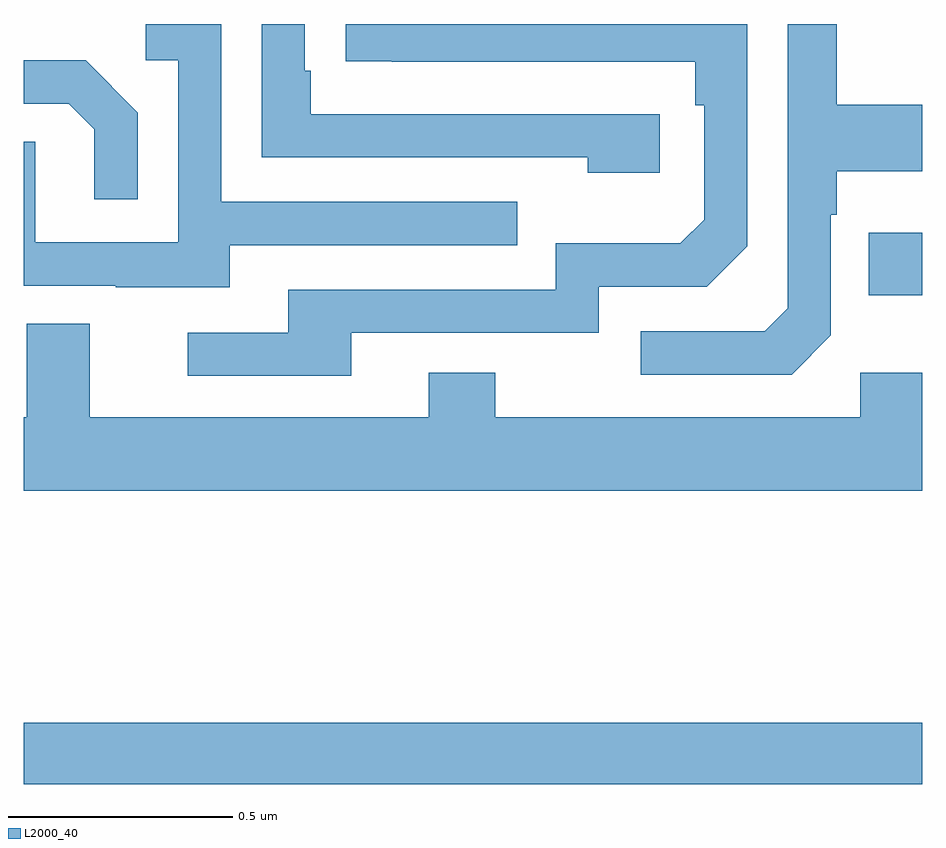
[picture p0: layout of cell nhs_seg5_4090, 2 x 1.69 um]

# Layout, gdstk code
import gdstk
lib = gdstk.Library(unit=1e-6, precision=1e-09)
def R(c, l, rs):  # rectangles x0, y0, x1, y1
    for r in rs: c.add(gdstk.rectangle(r[:2], r[2:], *l))
def P(c, l, *ps):  # polygons
    for p in ps: c.add(gdstk.Polygon(p, *l))
L2000_40 = (2000, 40)

nhs_seg5_4090 = lib.new_cell('nhs_seg5_4090')
R(nhs_seg5_4090, L2000_40, [(166,856.108,168,856.244), (167.881,857.195,168,857.335)])
P(nhs_seg5_4090, L2000_40, [(167.796,857.106),(167.796,857.375),(167.809,857.375),(167.809,857.471),(168,857.471),(168,857.619),(167.809,857.619),(167.809,857.799),(167.7,857.799),(167.7,857.166),(167.649,857.115),(167.373,857.115),(167.373,857.019),(167.709,857.019)],
  [(166.729,857.112),(167.28,857.112),(167.28,857.214),(167.52,857.214),(167.61,857.304),(167.61,857.799),(166.717,857.799),(166.717,857.716),(166.819,857.716),(166.819,857.715),(167.494,857.715),(167.494,857.618),(167.514,857.618),(167.514,857.364),(167.461,857.311),(167.184,857.311),(167.184,857.208),(166.589,857.208),(166.589,857.112),(166.365,857.112),(166.365,857.016),(166.729,857.016)],
  [(166.459,857.307),(167.099,857.307),(167.099,857.403),(166.44,857.403),(166.44,857.799),(166.272,857.799),(166.272,857.718),(166.344,857.718),(166.344,857.313),(166.026,857.313),(166.026,857.537),(166,857.537),(166,857.217),(166.205,857.217),(166.205,857.213),(166.459,857.213)],
  [(167.416,857.598),(166.639,857.598),(166.639,857.695),(166.626,857.695),(166.626,857.799),(166.53,857.799),(166.53,857.502),(167.255,857.502),(167.255,857.468),(167.416,857.468)],
  [(166.254,857.602),(166.138,857.718),(166,857.718),(166,857.622),(166.1,857.622),(166.157,857.565),(166.157,857.409),(166.254,857.409)],
  [(168,857.023),(167.862,857.023),(167.862,856.924),(167.049,856.924),(167.049,857.023),(166.901,857.023),(166.901,856.924),(166.147,856.924),(166.147,857.132),(166.007,857.132),(166.007,856.924),(166,856.924),(166,856.76),(168,856.76)])

lib.write_gds('nhs_seg5_4090.gds')
